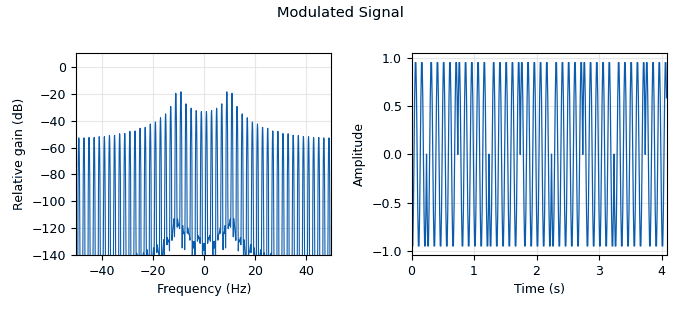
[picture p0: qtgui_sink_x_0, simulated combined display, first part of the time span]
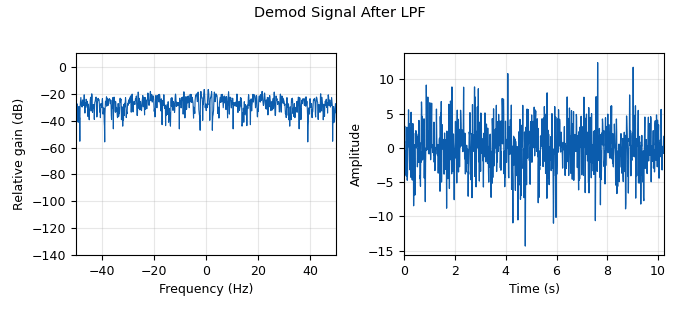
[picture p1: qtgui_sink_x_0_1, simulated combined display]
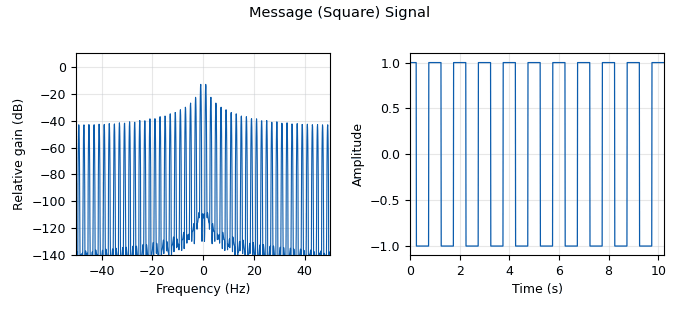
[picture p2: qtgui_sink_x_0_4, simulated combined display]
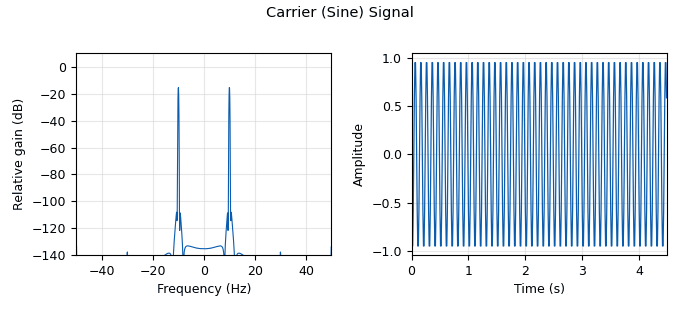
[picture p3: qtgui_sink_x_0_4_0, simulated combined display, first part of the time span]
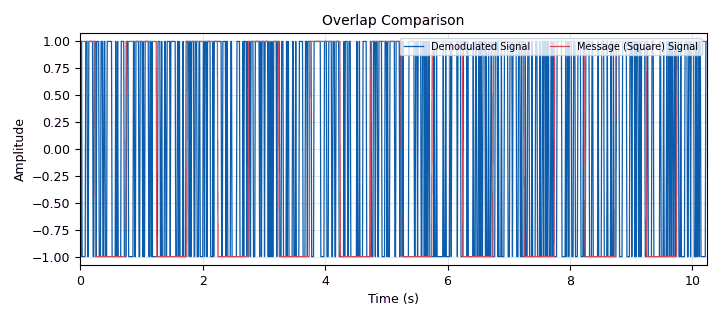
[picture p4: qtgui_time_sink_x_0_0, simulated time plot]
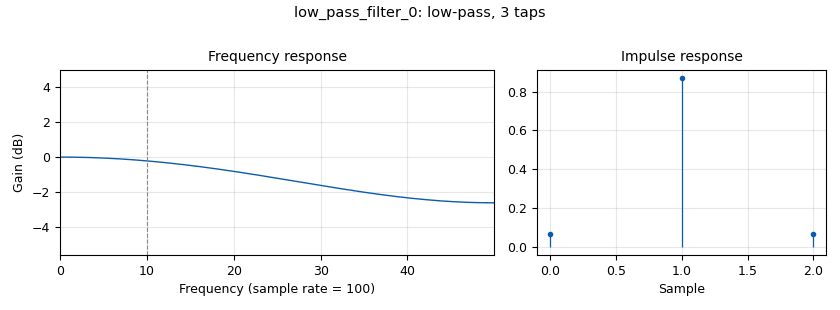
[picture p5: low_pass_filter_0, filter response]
options:
  parameters:
    author: Santosh
    copyright: '2022'
    generate_options: qt_gui
    id: BPSK_With_Noise
    output_language: python
    title: BPSK_With_Noise
  states: {}

blocks:
- name: samp_rate
  id: variable
  parameters:
    value: '100'
  states: {}
- name: analog_noise_source_x_0
  id: analog_noise_source_x
  parameters:
    amp: '5'
    noise_type: analog.GR_GAUSSIAN
    seed: '0'
    type: float
  states: {}
- name: analog_sig_source_x_0
  id: analog_sig_source_x
  parameters:
    amp: '2'
    freq: '1'
    offset: '-1'
    phase: '0'
    samp_rate: samp_rate
    type: float
    waveform: analog.GR_SQR_WAVE
  states: {}
- name: analog_sig_source_x_0_0
  id: analog_sig_source_x
  parameters:
    amp: '1'
    freq: '10'
    offset: '0'
    phase: '0'
    samp_rate: samp_rate
    type: float
    waveform: analog.GR_SIN_WAVE
  states: {}
- name: blocks_add_xx_0
  id: blocks_add_xx
  parameters:
    type: float
  states: {}
- name: blocks_complex_to_float_0
  id: blocks_complex_to_float
  parameters: {}
  states: {}
- name: blocks_correctiq_man_0
  id: blocks_correctiq_man
  parameters:
    imag: '0.0'
    real: '-1'
  states: {}
- name: blocks_float_to_complex_0
  id: blocks_float_to_complex
  parameters: {}
  states: {}
- name: blocks_multiply_const_vxx_0
  id: blocks_multiply_const_vxx
  parameters:
    const: '2'
    type: float
  states: {}
- name: blocks_multiply_xx_0
  id: blocks_multiply_xx
  parameters:
    type: float
  states: {}
- name: blocks_multiply_xx_0_0
  id: blocks_multiply_xx
  parameters:
    type: float
  states: {}
- name: blocks_threshold_ff_0
  id: blocks_threshold_ff
  parameters:
    high: '0.3'
    init: '0'
    low: '-0.3'
  states: {}
- name: low_pass_filter_0
  id: low_pass_filter
  parameters:
    cutoff_freq: '10'
    decim: '1'
    gain: '1'
    samp_rate: samp_rate
    type: fir_filter_fff
    width: '100'
    win: window.WIN_HAMMING
  states: {}
- name: qtgui_sink_x_0
  id: qtgui_sink_x
  parameters:
    bw: samp_rate
    fc: '0'
    fftsize: '1024'
    name: Modulated Signal
    type: float
  states: {}
- name: qtgui_sink_x_0_1
  id: qtgui_sink_x
  parameters:
    bw: samp_rate
    fc: '0'
    fftsize: '1024'
    name: Demod Signal After LPF
    type: float
  states: {}
- name: qtgui_sink_x_0_4
  id: qtgui_sink_x
  parameters:
    bw: samp_rate
    fc: '0'
    fftsize: '1024'
    name: Message (Square) Signal
    type: float
  states: {}
- name: qtgui_sink_x_0_4_0
  id: qtgui_sink_x
  parameters:
    bw: samp_rate
    fc: '0'
    fftsize: '1024'
    name: Carrier (Sine) Signal
    type: float
  states: {}
- name: qtgui_time_sink_x_0_0
  id: qtgui_time_sink_x
  parameters:
    label1: Demodulated Signal
    label2: Message (Square) Signal
    name: Overlap Comparison
    nconnections: '2'
    size: '1024'
    srate: samp_rate
    type: float
  states: {}

connections:
- [analog_noise_source_x_0, '0', blocks_add_xx_0, '0']
- [analog_sig_source_x_0, '0', blocks_multiply_xx_0, '0']
- [analog_sig_source_x_0, '0', qtgui_sink_x_0_4, '0']
- [analog_sig_source_x_0, '0', qtgui_time_sink_x_0_0, '1']
- [analog_sig_source_x_0_0, '0', blocks_multiply_xx_0, '1']
- [analog_sig_source_x_0_0, '0', blocks_multiply_xx_0_0, '1']
- [analog_sig_source_x_0_0, '0', qtgui_sink_x_0_4_0, '0']
- [blocks_add_xx_0, '0', blocks_multiply_xx_0_0, '0']
- [blocks_complex_to_float_0, '0', qtgui_time_sink_x_0_0, '0']
- [blocks_correctiq_man_0, '0', blocks_complex_to_float_0, '0']
- [blocks_float_to_complex_0, '0', blocks_correctiq_man_0, '0']
- [blocks_multiply_const_vxx_0, '0', blocks_float_to_complex_0, '0']
- [blocks_multiply_xx_0, '0', blocks_add_xx_0, '1']
- [blocks_multiply_xx_0, '0', qtgui_sink_x_0, '0']
- [blocks_multiply_xx_0_0, '0', low_pass_filter_0, '0']
- [blocks_threshold_ff_0, '0', blocks_multiply_const_vxx_0, '0']
- [low_pass_filter_0, '0', blocks_threshold_ff_0, '0']
- [low_pass_filter_0, '0', qtgui_sink_x_0_1, '0']

metadata:
  file_format: 1
  grc_version: 3.10.4.0
